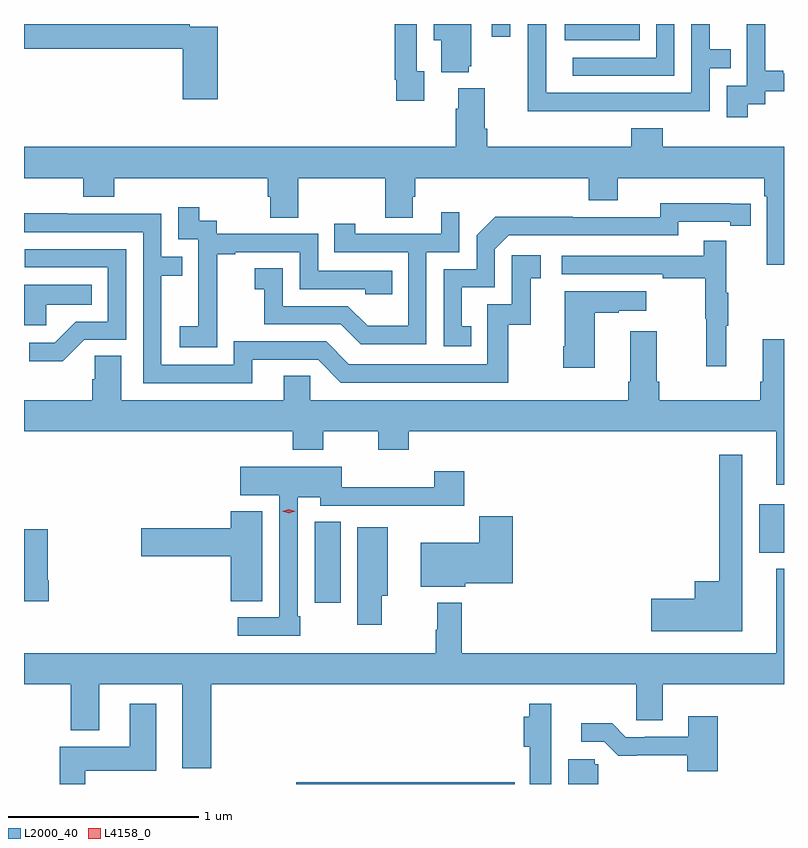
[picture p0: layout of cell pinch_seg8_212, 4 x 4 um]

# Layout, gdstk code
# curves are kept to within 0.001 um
import gdstk
lib = gdstk.Library(unit=1e-6, precision=1e-09)
def R(c, l, rs):  # rectangles x0, y0, x1, y1
    for r in rs: c.add(gdstk.rectangle(r[:2], r[2:], *l))
def P(c, l, *ps):  # polygons
    for p in ps: c.add(gdstk.Polygon(p, *l))
L2000_40 = (2000, 40)
L4158_0 = (4158, 0)

pinch_seg8_212 = lib.new_cell('pinch_seg8_212')
R(pinch_seg8_212, L2000_40, [(731.363,1097.327,732.512,1097.336), (731.459,1098.282,731.596,1098.707), (733.799,1098.545,733.93,1098.799), (732.776,1101.242,733.172,1101.327), (732.393,1101.261,732.489,1101.327)])
P(pinch_seg8_212, L2000_40, [(730.949,1101.312),(730.802,1101.312),(730.802,1101.327),(729.93,1101.327),(729.93,1101.196),(730.766,1101.196),(730.766,1100.931),(730.949,1100.931)],
  [(733.043,1100.868),(733.539,1100.868),(733.539,1101.093),(733.649,1101.093),(733.649,1101.194),(733.539,1101.194),(733.539,1101.327),(733.443,1101.327),(733.443,1100.964),(732.679,1100.964),(732.679,1101.2),(732.678,1101.2),(732.678,1101.327),(732.582,1101.327),(732.582,1101.173),(732.58,1101.173),(732.58,1100.867),(733.043,1100.867)],
  [(733.738,1100.905),(733.83,1100.905),(733.83,1100.973),(733.93,1100.973),(733.93,1101.069),(733.927,1101.069),(733.927,1101.082),(733.832,1101.082),(733.832,1101.327),(733.733,1101.327),(733.733,1101.233),(733.734,1101.233),(733.734,1101.003),(733.629,1101.003),(733.629,1100.835),(733.738,1100.835)],
  [(732.037,1101.078),(731.997,1101.078),(731.997,1101.327),(731.881,1101.327),(731.881,1101.034),(731.889,1101.034),(731.889,1100.922),(732.037,1100.922)],
  [(733.353,1101.327),(733.257,1101.327),(733.257,1101.15),(732.819,1101.15),(732.819,1101.054),(733.353,1101.054)],
  [(732.272,1101.105),(732.283,1101.105),(732.283,1101.327),(732.086,1101.327),(732.086,1101.242),(732.125,1101.242),(732.125,1101.074),(732.272,1101.074)],
  [(733.93,1100.68),(733.292,1100.68),(733.292,1100.779),(733.127,1100.779),(733.127,1100.68),(732.368,1100.68),(732.368,1100.776),(732.355,1100.776),(732.355,1100.989),(732.215,1100.989),(732.215,1100.882),(732.203,1100.882),(732.203,1100.68),(729.93,1100.68),(729.93,1100.516),(730.241,1100.516),(730.241,1100.417),(730.406,1100.417),(730.406,1100.516),(731.213,1100.516),(731.213,1100.418),(731.225,1100.418),(731.225,1100.308),(731.373,1100.308),(731.373,1100.516),(731.83,1100.516),(731.83,1100.308),(731.977,1100.308),(731.977,1100.418),(731.99,1100.418),(731.99,1100.516),(732.902,1100.516),(732.902,1100.399),(733.054,1100.399),(733.054,1100.516),(733.826,1100.516),(733.826,1100.42),(733.839,1100.42),(733.839,1100.061),(733.93,1100.061)],
  [(732.284,1099.737),(732.235,1099.737),(732.235,1099.941),(732.408,1099.941),(732.408,1100.142),(732.48,1100.214),(733.374,1100.214),(733.374,1100.286),(733.646,1100.286),(733.646,1100.266),(733.754,1100.266),(733.754,1100.382),(733.278,1100.383),(733.278,1100.31),(732.818,1100.31),(732.818,1100.312),(732.41,1100.312),(732.312,1100.214),(732.312,1100.037),(732.138,1100.037),(732.138,1099.632),(732.284,1099.632)],
  [(730.947,1099.831),(730.946,1099.831),(730.946,1100.115),(731.041,1100.115),(731.041,1100.127),(731.382,1100.127),(731.382,1099.932),(731.727,1099.932),(731.727,1099.905),(731.867,1099.905),(731.867,1100.028),(731.478,1100.028),(731.478,1100.223),(730.944,1100.223),(730.944,1100.292),(730.852,1100.292),(730.852,1100.362),(730.743,1100.362),(730.743,1100.193),(730.848,1100.193),(730.848,1099.964),(730.847,1099.964),(730.847,1099.735),(730.749,1099.735),(730.749,1099.625),(730.947,1099.625)],
  [(732.048,1100.127),(732.222,1100.127),(732.222,1100.335),(732.125,1100.335),(732.125,1100.223),(731.674,1100.223),(731.674,1100.275),(731.563,1100.275),(731.563,1100.127),(731.952,1100.127),(731.952,1099.738),(731.738,1099.738),(731.634,1099.842),(731.292,1099.842),(731.292,1100.041),(731.145,1100.041),(731.145,1099.931),(731.194,1099.931),(731.194,1099.746),(731.597,1099.746),(731.702,1099.641),(732.048,1099.641)],
  [(731.131,1099.56),(731.478,1099.56),(731.598,1099.44),(732.478,1099.44),(732.478,1099.743),(732.596,1099.743),(732.596,1099.989),(732.649,1099.989),(732.649,1100.11),(732.498,1100.11),(732.498,1099.851),(732.369,1099.851),(732.369,1099.536),(731.64,1099.536),(731.52,1099.656),(731.034,1099.656),(731.034,1099.533),(730.653,1099.533),(730.653,1100.002),(730.763,1100.002),(730.763,1100.103),(730.653,1100.103),(730.653,1100.328),(730.157,1100.328),(730.157,1100.33),(729.93,1100.33),(729.93,1100.232),(730.557,1100.232),(730.557,1099.437),(731.131,1099.437)],
  [(733.625,1099.739),(733.636,1099.739),(733.636,1099.913),(733.625,1099.913),(733.625,1100.185),(733.507,1100.185),(733.507,1100.106),(732.759,1100.106),(732.759,1100.01),(733.291,1100.01),(733.291,1099.99),(733.515,1099.99),(733.515,1099.776),(733.522,1099.776),(733.522,1099.527),(733.625,1099.527)],
  [(730.248,1099.665),(730.467,1099.665),(730.467,1100.142),(729.933,1100.142),(729.933,1100.046),(730.371,1100.046),(730.371,1099.761),(730.202,1099.761),(730.091,1099.65),(729.957,1099.65),(729.957,1099.553),(730.135,1099.553)],
  [(730.047,1099.85),(730.286,1099.85),(730.286,1099.954),(729.93,1099.954),(729.93,1099.742),(730.047,1099.742)],
  [(732.934,1099.807),(733.061,1099.807),(733.061,1099.817),(733.204,1099.817),(733.204,1099.921),(732.776,1099.921),(732.776,1099.63),(732.769,1099.63),(732.769,1099.518),(732.934,1099.518)],
  [(733.93,1099.669),(733.817,1099.669),(733.817,1099.444),(733.805,1099.444),(733.805,1099.348),(733.274,1099.348),(733.274,1099.444),(733.261,1099.444),(733.261,1099.711),(733.121,1099.711),(733.121,1099.444),(733.109,1099.444),(733.109,1099.348),(731.436,1099.348),(731.436,1099.475),(731.297,1099.475),(731.297,1099.348),(730.441,1099.348),(730.441,1099.58),(730.302,1099.58),(730.302,1099.457),(730.289,1099.457),(730.289,1099.348),(729.93,1099.348),(729.93,1099.184),(731.345,1099.184),(731.345,1099.085),(731.505,1099.085),(731.505,1099.184),(731.794,1099.184),(731.794,1099.085),(731.954,1099.085),(731.954,1099.184),(733.889,1099.184),(733.889,1098.903),(733.93,1098.903)],
  [(733.711,1099.06),(733.59,1099.06),(733.59,1098.394),(733.46,1098.394),(733.46,1098.302),(733.23,1098.302),(733.23,1098.131),(733.711,1098.131)],
  [(731.383,1098.211),(731.37,1098.211),(731.37,1098.836),(731.489,1098.836),(731.489,1098.792),(731.999,1098.792),(731.999,1098.791),(732.248,1098.791),(732.248,1098.973),(732.088,1098.973),(732.088,1098.89),(731.602,1098.89),(731.602,1098.997),(731.067,1098.997),(731.067,1098.848),(731.274,1098.848),(731.274,1098.204),(731.055,1098.204),(731.055,1098.108),(731.383,1098.108)],
  [(731.185,1098.763),(731.018,1098.763),(731.018,1098.674),(730.548,1098.674),(730.548,1098.527),(731.018,1098.527),(731.018,1098.289),(731.185,1098.289)],
  [(732.252,1098.383),(732.503,1098.383),(732.503,1098.736),(732.325,1098.736),(732.325,1098.598),(732.017,1098.598),(732.017,1098.365),(732.252,1098.365)],
  [(731.814,1098.317),(731.845,1098.317),(731.845,1098.679),(731.684,1098.679),(731.684,1098.165),(731.814,1098.165)],
  [(730.061,1098.4),(730.056,1098.4),(730.056,1098.669),(729.93,1098.669),(729.93,1098.288),(730.061,1098.288)],
  [(730.916,1097.852),(733.152,1097.852),(733.152,1097.662),(733.291,1097.662),(733.291,1097.852),(733.93,1097.852),(733.93,1098.46),(733.889,1098.46),(733.889,1098.016),(732.233,1098.016),(732.233,1098.28),(732.105,1098.28),(732.105,1098.14),(732.097,1098.14),(732.097,1098.016),(729.93,1098.016),(729.93,1097.852),(730.175,1097.852),(730.175,1097.609),(730.327,1097.609),(730.327,1097.852),(730.763,1097.852),(730.763,1097.411),(730.916,1097.411)],
  [(732.705,1097.526),(732.706,1097.526),(732.706,1097.749),(732.589,1097.749),(732.589,1097.68),(732.56,1097.68),(732.56,1097.522),(732.593,1097.522),(732.593,1097.327),(732.705,1097.327)],
  [(730.252,1097.396),(730.627,1097.396),(730.627,1097.749),(730.487,1097.749),(730.487,1097.524),(730.118,1097.524),(730.118,1097.327),(730.252,1097.327)],
  [(733.58,1097.683),(733.427,1097.683),(733.427,1097.577),(733.198,1097.577),(733.198,1097.574),(733.098,1097.574),(733.025,1097.647),(732.864,1097.647),(732.864,1097.55),(732.984,1097.55),(733.057,1097.477),(733.42,1097.478),(733.42,1097.393),(733.58,1097.393)],
  [(732.952,1097.43),(732.933,1097.43),(732.933,1097.457),(732.794,1097.457),(732.794,1097.327),(732.952,1097.327)])
P(pinch_seg8_212, L4158_0, [(731.323,1098.753),(731.288,1098.763),(731.288,1098.763),(731.288,1098.763),(731.323,1098.773),(731.357,1098.763),(731.358,1098.763),(731.357,1098.763)])

lib.write_gds('pinch_seg8_212.gds')
